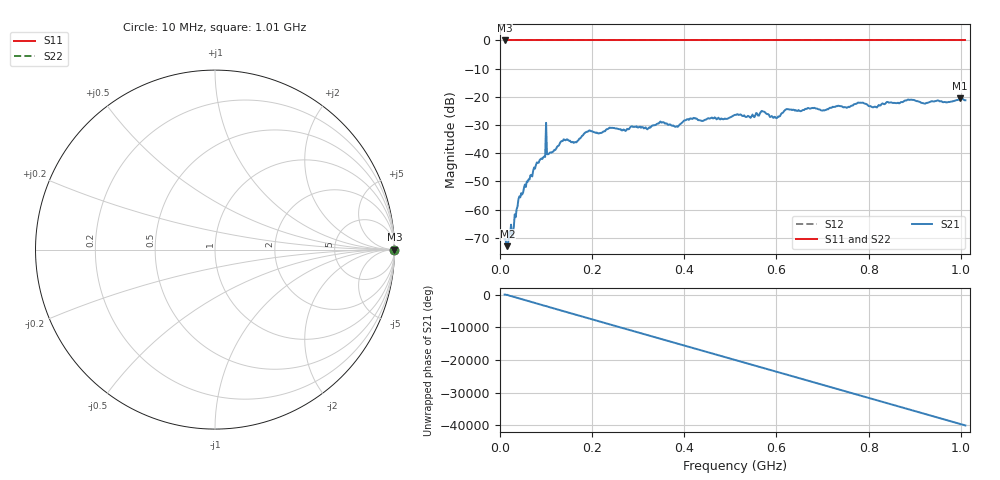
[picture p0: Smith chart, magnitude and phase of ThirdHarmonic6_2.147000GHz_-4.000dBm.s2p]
! 8/17/2025 1:38:16 AM
! C:\ANRITSUVNA\TEMP\TEMP.S2P
! CHANNEL.1
! TR.MEASUREMENT
! RAW.DATA
! RF.CORRECTION.OFF
! AVERAGING.OFF
! IF.BANDWIDTH: 5KHZ
! SWEEPTYPE:  FREQ.SWEEP(Linear)
! Reference Plane Port Info
! PORT:  PORT1  PORT2
! DISTANCE:  0  m  0  m
! TIME:  0  s  0  s
! PHASE.OFFSET:  0  deg.  0  deg.
! LOSS:  0  dB  0  dB
! REF.LOSS:  0  dB  0  dB
! REF.FREQ:  0  Hz  0  Hz
! Power Info
! POWER:  -20  dBm  -20  dBm
! EFF.POWER:  -20  dBm  -20  dBm
! SOURCE.ATTEN:  0  dB  0  dB
! TEST.ATTEN:  0  dB  0  dB
# GHZ S RI R 50.0
! FREQ.GHZ  S11RE  S11IM  S21RE  S21IM  S12RE  S12IM  S22RE  S22IM
!; PortSelection: Port_12
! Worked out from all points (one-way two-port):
!   501 points, 10 MHz to 1.01 GHz, reference 50 ohm
!   highest |S21| = -20.56 dB at 998 MHz (marker M1); lowest = -73.0 dB at 16 MHz (marker M2)
!   lowest |S11| = 0.0 dB at 10 MHz (marker M3)
!   |S11| at or under -10 dB: nowhere
!   |S22| runs from 0.0 to 0.0 dB; largest |S21 - S12| = 1.1
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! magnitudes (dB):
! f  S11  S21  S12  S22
! 10 MHz  0.0  -70.5  0.0  0.0
! 16 MHz  0.0  -73.0  0.0  0.0
! 30 MHz  0.0  -66.1  0.0  0.0
! 44 MHz  0.0  -55.7  0.0  0.0
! 78 MHz  0.0  -44.2  0.0  0.0
! 94 MHz  0.0  -41.4  0.0  0.0
! 96 MHz  0.0  -41.1  0.0  0.0
! 104 MHz  0.0  -40.4  0.0  0.0
! 108 MHz  0.0  -39.8  0.0  0.0
! 136 MHz  0.0  -35.7  0.0  0.0
! 178 MHz  0.0  -33.9  0.0  0.0
! 344 MHz  0.0  -29.5  0.0  0.0
! 382 MHz  0.0  -30.6  0.0  0.0
! 416 MHz  0.0  -27.8  0.0  0.0
! 510 MHz  0.0  -26.4  0.0  0.0
! 570 MHz  0.0  -25.2  0.0  0.0
! 598 MHz  0.0  -27.3  0.0  0.0
! 622 MHz  0.0  -24.3  0.0  0.0
! 678 MHz  0.0  -23.9  0.0  0.0
! 844 MHz  0.0  -22.1  0.0  0.0
! 998 MHz  0.0  -20.6  0.0  0.0
! 1.01 GHz  0.0  -21.2  0.0  0.0
